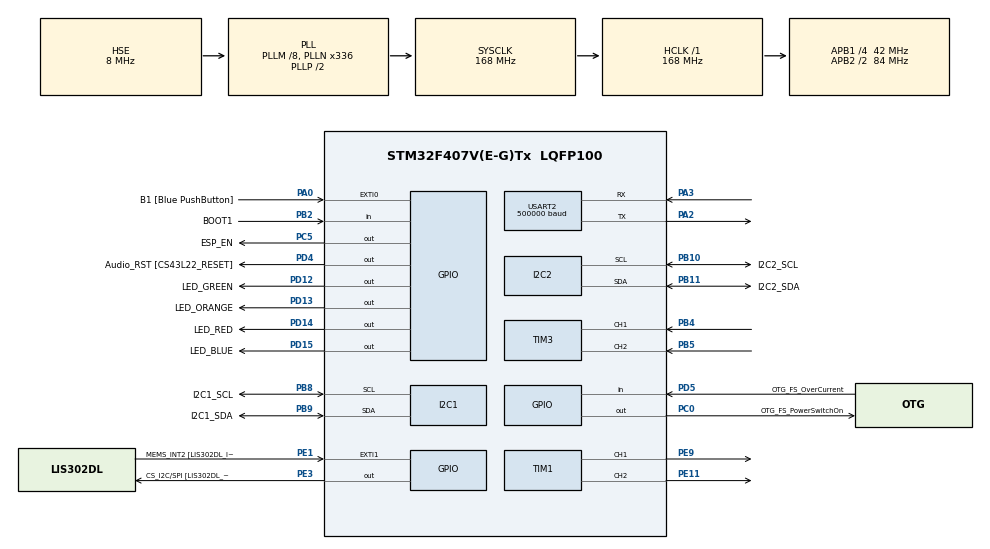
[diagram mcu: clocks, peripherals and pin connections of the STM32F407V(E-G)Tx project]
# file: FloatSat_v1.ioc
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Dma.Request0=USART2_RX
Dma.Request1=USART2_TX
Dma.USART2_RX.0.Direction=DMA_PERIPH_TO_MEMORY
Dma.USART2_RX.0.FIFOMode=DMA_FIFOMODE_DISABLE
Dma.USART2_RX.0.Instance=DMA1_Stream5
Dma.USART2_RX.0.MemDataAlignment=DMA_MDATAALIGN_BYTE
Dma.USART2_RX.0.MemInc=DMA_MINC_ENABLE
Dma.USART2_RX.0.Mode=DMA_NORMAL
Dma.USART2_RX.0.PeriphDataAlignment=DMA_PDATAALIGN_BYTE
Dma.USART2_RX.0.PeriphInc=DMA_PINC_DISABLE
Dma.USART2_RX.0.Priority=DMA_PRIORITY_LOW
Dma.USART2_TX.1.Direction=DMA_MEMORY_TO_PERIPH
Dma.USART2_TX.1.FIFOMode=DMA_FIFOMODE_DISABLE
Dma.USART2_TX.1.Instance=DMA1_Stream6
Dma.USART2_TX.1.MemDataAlignment=DMA_MDATAALIGN_BYTE
Dma.USART2_TX.1.MemInc=DMA_MINC_ENABLE
Dma.USART2_TX.1.Mode=DMA_NORMAL
Dma.USART2_TX.1.PeriphDataAlignment=DMA_PDATAALIGN_BYTE
Dma.USART2_TX.1.PeriphInc=DMA_PINC_DISABLE
Dma.USART2_TX.1.Priority=DMA_PRIORITY_LOW
FREERTOS.Tasks01=defaultTask,24,128,StartDefaultTask,Default,NULL,Dynamic,NULL,NULL;Task_Telemetry,27,256,Task_TelemetryFn,As external,handles->telemetry_handle,Dynamic,NULL,NULL;Task_Telecmd,24,512,Task_TelecmdFn,As external,handles->cmd_manager_handle,Dynamic,NULL,NULL;Task_Control,27,1024,Task_ControlFn,As external,handles->control_handle,Dynamic,NULL,NULL;Task_Core,24,256,Task_CoreFn,As external,handles->core_handle,Dynamic,NULL,NULL;Task_Log,8,128,Task_LogFn,As external,handles->telemetry_handle,Dynamic,NULL,NULL
FREERTOS.configCHECK_FOR_STACK_OVERFLOW=2
FREERTOS.configUSE_NEWLIB_REENTRANT=1
Mcu.Family=STM32F4
Mcu.Name=STM32F407V(E-G)Tx
Mcu.Package=LQFP100
Mcu.UserConstants=MAIN_UART,$$_USART2_IP_HANDLE_$$;ENCODER_SAMPLE_PERIOD_MS,5;RTC_HANDLE,$$_RTC_IP_HANDLE_$$;MOTOR_PWM_TIM,$$_TIM1_IP_HANDLE_$$;IMU_I2C,$$_I2C1_IP_HANDLE_$$;MOTOR_ENCODER_TIM,$$_TIM3_IP_HANDLE_$$;ENCODER_SAMPLER_TIM,$$_TIM12_IP_HANDLE_$$;MOTOR_PWM_PERIOD_US,1000;MICROSEC_TIMER,$$_TIM2_IP_HANDLE_$$;LIGHT_SENSOR_I2C,$$_I2C2_IP_HANDLE_$$
NVIC.DMA1_Stream5_IRQn=true\:5\:0\:false\:false\:true\:true\:false\:true\:true
NVIC.DMA1_Stream6_IRQn=true\:5\:0\:false\:false\:true\:true\:false\:true\:true
NVIC.PriorityGroup=NVIC_PRIORITYGROUP_4
NVIC.RTC_Alarm_IRQn=true\:5\:0\:false\:false\:true\:true\:true\:true\:true
NVIC.TIM2_IRQn=true\:5\:0\:false\:false\:true\:true\:true\:true\:true
NVIC.TIM3_IRQn=true\:5\:0\:false\:false\:true\:true\:true\:true\:true
NVIC.TIM6_DAC_IRQn=true\:15\:0\:true\:false\:true\:false\:false\:true\:true
NVIC.TIM8_BRK_TIM12_IRQn=true\:5\:0\:false\:false\:true\:true\:true\:true\:true
NVIC.TimeBase=TIM6_DAC_IRQn
NVIC.TimeBaseIP=TIM6
NVIC.USART2_IRQn=true\:5\:0\:false\:false\:true\:true\:true\:true\:true
PA0-WKUP.GPIO_Label=B1 [Blue PushButton]
PA0-WKUP.Signal=GPXTI0
PA10.Signal=USART1_RX
PA11.GPIO_Label=OTG_FS_DM
PA11.GPIO_Mode=GPIO_MODE_AF_PP
PA11.GPIO_PuPd=GPIO_NOPULL
PA11.GPIO_Speed=GPIO_SPEED_FREQ_LOW
PA11.Signal=USB_OTG_FS_DM
PA12.GPIO_Label=OTG_FS_DP
PA12.GPIO_Mode=GPIO_MODE_AF_PP
PA12.GPIO_PuPd=GPIO_NOPULL
PA12.GPIO_Speed=GPIO_SPEED_FREQ_LOW
PA12.Signal=USB_OTG_FS_DP
PA13.GPIO_Label=SWDIO
PA13.Mode=Serial_Wire
PA13.Signal=SYS_JTMS-SWDIO
PA14.GPIO_Label=SWCLK
PA14.Mode=Serial_Wire
PA14.Signal=SYS_JTCK-SWCLK
PA2.Mode=Asynchronous
PA2.Signal=USART2_TX
PA3.Mode=Asynchronous
PA3.Signal=USART2_RX
PA9.Signal=USART1_TX
PB10.GPIO_Label=I2C2_SCL
PB10.Mode=I2C
PB10.Signal=I2C2_SCL
PB11.GPIO_Label=I2C2_SDA
PB11.Mode=I2C
PB11.Signal=I2C2_SDA
PB2.GPIO_Label=BOOT1
PB2.GPIO_Mode=GPIO_MODE_INPUT
PB2.GPIO_PuPd=GPIO_NOPULL
PB2.Signal=GPIO_Input
PB3.GPIO_Label=SWO
PB3.Signal=SYS_JTDO-SWO
PB4.Signal=S_TIM3_CH1
PB5.Signal=S_TIM3_CH2
PB8.GPIO_Label=I2C1_SCL
PB8.Mode=I2C
PB8.Signal=I2C1_SCL
PB9.GPIO_Label=I2C1_SDA
PB9.Mode=I2C
PB9.Signal=I2C1_SDA
PC0.GPIO_Label=OTG_FS_PowerSwitchOn
PC0.GPIO_PuPd=GPIO_NOPULL
PC0.GPIO_Speed=GPIO_SPEED_FREQ_LOW
PC0.PinState=GPIO_PIN_SET
PC0.Signal=GPIO_Output
PC5.GPIO_Label=ESP_EN
PC5.GPIO_ModeDefaultOutputPP=GPIO_MODE_OUTPUT_OD
PC5.GPIO_PuPd=GPIO_PULLUP
PC5.PinState=GPIO_PIN_SET
PC5.Signal=GPIO_Output
PD12.GPIO_Label=LED_GREEN
PD12.GPIO_PuPd=GPIO_NOPULL
PD12.GPIO_Speed=GPIO_SPEED_FREQ_LOW
PD12.Signal=GPIO_Output
PD13.GPIO_Label=LED_ORANGE
PD13.GPIO_PuPd=GPIO_NOPULL
PD13.GPIO_Speed=GPIO_SPEED_FREQ_LOW
PD13.Signal=GPIO_Output
PD14.GPIO_Label=LED_RED
PD14.GPIO_PuPd=GPIO_NOPULL
PD14.GPIO_Speed=GPIO_SPEED_FREQ_LOW
PD14.Signal=GPIO_Output
PD15.GPIO_Label=LED_BLUE
PD15.GPIO_PuPd=GPIO_NOPULL
PD15.GPIO_Speed=GPIO_SPEED_FREQ_LOW
PD15.Signal=GPIO_Output
PD4.GPIO_Label=Audio_RST [CS43L22_RESET]
PD4.GPIO_PuPd=GPIO_NOPULL
PD4.GPIO_Speed=GPIO_SPEED_FREQ_LOW
PD4.Signal=GPIO_Output
PD5.GPIO_Label=OTG_FS_OverCurrent
PD5.GPIO_Mode=GPIO_MODE_INPUT
PD5.GPIO_PuPd=GPIO_NOPULL
PD5.Signal=GPIO_Input
PE1.GPIO_Label=MEMS_INT2 [LIS302DL_INT2]
PE1.GPIO_ModeDefaultEXTI=GPIO_MODE_EVT_RISING
PE1.GPIO_PuPd=GPIO_NOPULL
PE1.Signal=GPXTI1
PE11.Signal=S_TIM1_CH2
PE3.GPIO_Label=CS_I2C/SPI [LIS302DL_CS_I2C/SPI]
PE3.GPIO_PuPd=GPIO_NOPULL
PE3.GPIO_Speed=GPIO_SPEED_FREQ_LOW
PE3.Signal=GPIO_Output
PE9.Signal=S_TIM1_CH1
PH0-OSC_IN.GPIO_Label=PH0-OSC_IN
PH0-OSC_IN.Mode=HSE-External-Clock-Source
PH0-OSC_IN.Signal=RCC_OSC_IN
PH1-OSC_OUT.GPIO_Label=PH1-OSC_OUT
PH1-OSC_OUT.Mode=HSE-External-Clock-Source
PH1-OSC_OUT.Signal=RCC_OSC_OUT
ProjectManager.HeapSize=0x200
ProjectManager.StackSize=0x400
ProjectManager.TargetToolchain=STM32CubeIDE
RCC.48MHZClocksFreq_Value=48000000
RCC.AHBFreq_Value=168000000
RCC.APB1CLKDivider=RCC_HCLK_DIV4
RCC.APB1Freq_Value=42000000
RCC.APB1TimFreq_Value=84000000
RCC.APB2CLKDivider=RCC_HCLK_DIV2
RCC.APB2Freq_Value=84000000
RCC.APB2TimFreq_Value=168000000
RCC.CortexFreq_Value=168000000
RCC.HCLKFreq_Value=168000000
RCC.HSE_VALUE=8000000
RCC.HSI_VALUE=16000000
RCC.LSE_VALUE=32768
RCC.PLLM=8
RCC.PLLN=336
RCC.PLLQ=7
RCC.PLLSourceVirtual=RCC_PLLSOURCE_HSE
RCC.SYSCLKFreq_VALUE=168000000
RCC.SYSCLKSource=RCC_SYSCLKSOURCE_PLLCLK
RCC.VCOOutputFreq_Value=336000000
RTC.Alarm=RTC_ALARM_A
SH.S_TIM1_CH1.0=TIM1_CH1,PWM Generation1 CH1
SH.S_TIM1_CH2.0=TIM1_CH2,PWM Generation2 CH2
SH.S_TIM3_CH1.0=TIM3_CH1,Encoder_Interface
SH.S_TIM3_CH2.0=TIM3_CH2,Encoder_Interface
TIM1.AutoReloadPreload=TIM_AUTORELOAD_PRELOAD_ENABLE
TIM1.Channel-PWM\ Generation1\ CH1=TIM_CHANNEL_1
TIM1.Channel-PWM\ Generation2\ CH2=TIM_CHANNEL_2
TIM1.OC1Preload_PWM=ENABLE
TIM1.OC2Preload_PWM=ENABLE
TIM1.Period=(MOTOR_PWM_PERIOD_US * 168)
TIM12.AutoReloadPreload=TIM_AUTORELOAD_PRELOAD_ENABLE
TIM12.Period=ENCODER_SAMPLE_PERIOD_MS * 10 - 1
TIM12.Prescaler=8400
TIM2.AutoReloadPreload=TIM_AUTORELOAD_PRELOAD_ENABLE
TIM2.Channel-Input_Capture1_from_TI1=TIM_CHANNEL_1
TIM2.Period=0xffffffff
TIM2.Prescaler=83
TIM3.AutoReloadPreload=TIM_AUTORELOAD_PRELOAD_ENABLE
TIM3.EncoderMode=TIM_ENCODERMODE_TI12
TIM3.IC1Filter=4
USART2.BaudRate=500000
USART2.VirtualMode=VM_ASYNC
VP_FREERTOS_VS_CMSIS_V2.Mode=CMSIS_V2
VP_RTC_VS_RTC_Activate.Mode=RTC_Enabled
VP_RTC_VS_RTC_Alarm_A_Intern.Mode=Alarm A
VP_RTC_VS_RTC_Calendar.Mode=RTC_Calendar
VP_SYS_VS_tim6.Mode=TIM6
VP_TIM12_VS_ClockSourceINT.Mode=Internal
VP_TIM1_VS_ClockSourceINT.Mode=Internal
VP_TIM2_VS_ClockSourceINT.Mode=Internal
board=STM32F407G-DISC1

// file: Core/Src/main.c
/* USER CODE BEGIN Header */
/**
  ******************************************************************************
  * @file           : main.c
  * @brief          : Punto de entrada principal de la aplicación.
  *
  * Este archivo realiza la secuencia general de arranque:
  *
  *   1. Inicializa la biblioteca HAL.
  *   2. Configura el reloj del microcontrolador.
  *   3. Inicializa GPIO, I2C, temporizadores y UART.
  *   4. Inicializa el kernel de FreeRTOS.
  *   5. Crea las tareas y objetos del sistema.
  *   6. Inicia el planificador de FreeRTOS.
  *
  * Después de iniciar el scheduler, la ejecución normal queda repartida
  * entre las tareas definidas en freertos.c.
  ******************************************************************************
  * @attention
  *
  * Copyright (c) 2026 STMicroelectronics.
  * All rights reserved.
  *
  * This software is licensed under terms that can be found in the LICENSE file
  * in the root directory of this software component.
  * If no LICENSE file comes with this software, it is provided AS-IS.
  *
  ******************************************************************************
  */
/* USER CODE END Header */
#include "main.h"
#include "cmsis_os.h"
#include "dma.h"
#include "i2c.h"
#include "rtc.h"
#include "tim.h"
#include "usart.h"
#include "gpio.h"

/* USER CODE BEGIN Includes */
#include "floatsat_init.h"

/* USER CODE END Includes */

/* USER CODE BEGIN PV */
static floatsat_callbacks_t callbacks = {0};

/* USER CODE END PV */

void SystemClock_Config(void);
void MX_FREERTOS_Init(void);

int main(void)
{

  /* USER CODE BEGIN 1 */

  // TODO: Does the MCU have a FPU so we can handle floating point thru hardware?
  // Is it enabled?

  /* USER CODE END 1 */

  /* MCU Configuration--------------------------------------------------------*/

  /* Reset of all peripherals, Initializes the Flash interface and the Systick. */
  HAL_Init();

  /* Configure the system clock */
  SystemClock_Config();

  /* Initialize all configured peripherals */
  MX_GPIO_Init();
  MX_DMA_Init();
  MX_I2C1_Init();
  MX_TIM1_Init();
  MX_TIM3_Init();
  MX_TIM2_Init();
  MX_TIM12_Init();
  MX_USART2_UART_Init();
  MX_RTC_Init();
  MX_I2C2_Init();
  /* USER CODE BEGIN 2 */

  // From Percepio View
  xTraceInitialize();

  floatsat_periph_t peripherals = {
    .imu_i2c                  =   &IMU_I2C,
    .light_sensor_i2c         =
        {
          .periph       = &LIGHT_SENSOR_I2C,
          .gpio_port    = I2C2_SDA_GPIO_Port,
          .scl_pin_mask = I2C2_SCL_Pin,
          .sda_pin_mask = I2C2_SDA_Pin,
          .init_fn      = MX_I2C2_Init
        },

    .main_uart                =   &MAIN_UART,
    .motor_pwm_timer          =   &MOTOR_PWM_TIM,
    .encoder_timer            =   &MOTOR_ENCODER_TIM,
    .encoder_sampling_timer   =   &ENCODER_SAMPLER_TIM,
    .microsec_timer           =   &MICROSEC_TIMER,
    .rtc                      =   &RTC_HANDLE,

    .esp_en_port              =   ESP_EN_GPIO_Port,
    .esp_en_pin               =   ESP_EN_Pin,

    .status_leds =
    {
      .led_red = {
        .gpio_num = LED_RED_Pin,
        .port     = LED_RED_GPIO_Port
      },
      .led_green = {
        .gpio_num = LED_GREEN_Pin,
        .port     = LED_GREEN_GPIO_Port
      }
    },

    .i2c_init_fn              =   MX_I2C1_Init,
    .i2c_sda_pins             =   {I2C1_SDA_Pin,I2C2_SDA_Pin,0},
    .i2c_scl_pins             =   {I2C1_SCL_Pin,I2C2_SCL_Pin,0},
    .i2c_gpio                 =   I2C1_SDA_GPIO_Port
  };

  const mx_user_constants_t user_constants = {
    .encoder_sampling_period_ms = ENCODER_SAMPLE_PERIOD_MS,
  };

  floatsat_err_t ret = FloatSat_Init(&peripherals, &user_constants, &callbacks);
  (void)ret;

  /* USER CODE END 2 */

  /* Init scheduler */
  osKernelInitialize();  /* Call init function for freertos objects (in cmsis_os2.c) */
  MX_FREERTOS_Init();

  /* Start scheduler */
  osKernelStart();

  /* We should never get here as control is now taken by the scheduler */

  /* Infinite loop */
  /* USER CODE BEGIN WHILE */

  /*
   * Bucle de seguridad.
   *
   * No debería ejecutarse durante el funcionamiento normal porque
   * el control debería permanecer en FreeRTOS.
   */
  while (1)
  {
    /* USER CODE END WHILE */

  }
}

void SystemClock_Config(void)
{
  RCC_OscInitTypeDef RCC_OscInitStruct = {0};
  RCC_ClkInitTypeDef RCC_ClkInitStruct = {0};

  /** Configure the main internal regulator output voltage
  */
  __HAL_RCC_PWR_CLK_ENABLE();
  __HAL_PWR_VOLTAGESCALING_CONFIG(PWR_REGULATOR_VOLTAGE_SCALE1);

  /** Initializes the RCC Oscillators according to the specified parameters
  * in the RCC_OscInitTypeDef structure.
  */
  RCC_OscInitStruct.OscillatorType = RCC_OSCILLATORTYPE_LSI|RCC_OSCILLATORTYPE_HSE;
  RCC_OscInitStruct.HSEState = RCC_HSE_BYPASS;
  RCC_OscInitStruct.LSIState = RCC_LSI_ON;
  RCC_OscInitStruct.PLL.PLLState = RCC_PLL_ON;
  RCC_OscInitStruct.PLL.PLLSource = RCC_PLLSOURCE_HSE;
  RCC_OscInitStruct.PLL.PLLM = 8;
  RCC_OscInitStruct.PLL.PLLN = 336;
  RCC_OscInitStruct.PLL.PLLP = RCC_PLLP_DIV2;
  RCC_OscInitStruct.PLL.PLLQ = 7;
  if (HAL_RCC_OscConfig(&RCC_OscInitStruct) != HAL_OK)
  {
    Error_Handler();
  }

  /** Initializes the CPU, AHB and APB buses clocks
  */
  RCC_ClkInitStruct.ClockType = RCC_CLOCKTYPE_HCLK|RCC_CLOCKTYPE_SYSCLK
                              |RCC_CLOCKTYPE_PCLK1|RCC_CLOCKTYPE_PCLK2;
  RCC_ClkInitStruct.SYSCLKSource = RCC_SYSCLKSOURCE_PLLCLK;
  RCC_ClkInitStruct.AHBCLKDivider = RCC_SYSCLK_DIV1;
  RCC_ClkInitStruct.APB1CLKDivider = RCC_HCLK_DIV4;
  RCC_ClkInitStruct.APB2CLKDivider = RCC_HCLK_DIV2;

  if (HAL_RCC_ClockConfig(&RCC_ClkInitStruct, FLASH_LATENCY_5) != HAL_OK)
  {
    Error_Handler();
  }
}

void HAL_TIM_PeriodElapsedCallback(TIM_HandleTypeDef *htim)
{
  if (htim->Instance == TIM6)
  {
    HAL_IncTick();
  }
  /* USER CODE BEGIN Callback 1 */
//  if (htim->Instance == TIM6)
//  {
//      count++;
//      us = Util_GetTimeUs();
//      delta_sum = us - prev_us;
//      prev_us = us;
//  }

  if(htim == &MICROSEC_TIMER){
    Util_IncTimeUsOverflow();
  }

  if(htim == &ENCODER_SAMPLER_TIM && callbacks.encoder_sample_cb){
    callbacks.encoder_sample_cb(htim);
  }

  /* USER CODE END Callback 1 */
}

void Error_Handler(void)
{
  __disable_irq();
  while (1)
  {
  }
}

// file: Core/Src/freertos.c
/* USER CODE BEGIN Header */
/**
  ******************************************************************************
  * File Name          : freertos.c
  * Description        : Inicialización y elementos asociados a FreeRTOS.
  *
  * Este archivo contiene:
  *
  *   - Definición y creación de las tareas del sistema.
  *   - Variables globales de diagnóstico y telemetría.
  *   - Parámetros generales del FloatSat.
  *   - Funciones auxiliares para controlar el motor.
  *   - Función de recuperación del bus I2C1.
  *
  * Las secciones delimitadas por USER CODE BEGIN / END son conservadas
  * por STM32CubeMX cuando se vuelve a generar el código.
  ******************************************************************************
  */
/* USER CODE END Header */

#include "FreeRTOS.h"
#include "task.h"
#include "main.h"
#include "cmsis_os.h"

/* USER CODE BEGIN Variables */

static const floatsat_handles_t *handles;

/* USER CODE END Variables */
/* Definitions for defaultTask */
osThreadId_t defaultTaskHandle;
const osThreadAttr_t defaultTask_attributes = {
  .name = "defaultTask",
  .stack_size = 128 * 4,
  .priority = (osPriority_t) osPriorityNormal,
};
/* Definitions for Task_Telemetry */
osThreadId_t Task_TelemetryHandle;
const osThreadAttr_t Task_Telemetry_attributes = {
  .name = "Task_Telemetry",
  .stack_size = 256 * 4,
  .priority = (osPriority_t) osPriorityNormal3,
};
/* Definitions for Task_Telecmd */
osThreadId_t Task_TelecmdHandle;
const osThreadAttr_t Task_Telecmd_attributes = {
  .name = "Task_Telecmd",
  .stack_size = 512 * 4,
  .priority = (osPriority_t) osPriorityNormal,
};
/* Definitions for Task_Control */
osThreadId_t Task_ControlHandle;
const osThreadAttr_t Task_Control_attributes = {
  .name = "Task_Control",
  .stack_size = 1024 * 4,
  .priority = (osPriority_t) osPriorityNormal3,
};
/* Definitions for Task_Core */
osThreadId_t Task_CoreHandle;
const osThreadAttr_t Task_Core_attributes = {
  .name = "Task_Core",
  .stack_size = 256 * 4,
  .priority = (osPriority_t) osPriorityNormal,
};
/* Definitions for Task_Log */
osThreadId_t Task_LogHandle;
const osThreadAttr_t Task_Log_attributes = {
  .name = "Task_Log",
  .stack_size = 128 * 4,
  .priority = (osPriority_t) osPriorityLow,
};

void StartDefaultTask(void *argument);
extern void Task_TelemetryFn(void *argument);
extern void Task_TelecmdFn(void *argument);
extern void Task_ControlFn(void *argument);
extern void Task_CoreFn(void *argument);
extern void Task_LogFn(void *argument);

void MX_FREERTOS_Init(void); /* (MISRA C 2004 rule 8.1) */

/* Hook prototypes */
void vApplicationStackOverflowHook(xTaskHandle xTask, signed char *pcTaskName);

/* USER CODE BEGIN 4 */
void vApplicationStackOverflowHook(xTaskHandle xTask, signed char *pcTaskName)
{
   /* Run time stack overflow checking is performed if
   configCHECK_FOR_STACK_OVERFLOW is defined to 1 or 2. This hook function is
   called if a stack overflow is detected. */
    (void)xTask;
    taskDISABLE_INTERRUPTS();
    __BKPT(0);            // debugger stops here; inspect pcTaskName
    for(;;);
}
/* USER CODE END 4 */

void MX_FREERTOS_Init(void) {
  /* USER CODE BEGIN Init */
  handles = FloatSat_GetHandles();
  /* USER CODE END Init */

  /* Create the thread(s) */
  /* creation of defaultTask */
  defaultTaskHandle = osThreadNew(StartDefaultTask, NULL, &defaultTask_attributes);

  /* creation of Task_Telemetry */
  Task_TelemetryHandle = osThreadNew(Task_TelemetryFn, (void*) handles->telemetry_handle, &Task_Telemetry_attributes);

  /* creation of Task_Telecmd */
  Task_TelecmdHandle = osThreadNew(Task_TelecmdFn, (void*) handles->cmd_manager_handle, &Task_Telecmd_attributes);

  /* creation of Task_Control */
  Task_ControlHandle = osThreadNew(Task_ControlFn, (void*) handles->control_handle, &Task_Control_attributes);

  /* creation of Task_Core */
  Task_CoreHandle = osThreadNew(Task_CoreFn, (void*) handles->core_handle, &Task_Core_attributes);

  /* creation of Task_Log */
  Task_LogHandle = osThreadNew(Task_LogFn, (void*) handles->telemetry_handle, &Task_Log_attributes);

}

void StartDefaultTask(void *argument)
{
  /* USER CODE BEGIN StartDefaultTask */
  /* Infinite loop */
  for(;;)
  {
    vTaskDelay(pdMS_TO_TICKS(1000));

  }
  /* USER CODE END StartDefaultTask */
}
